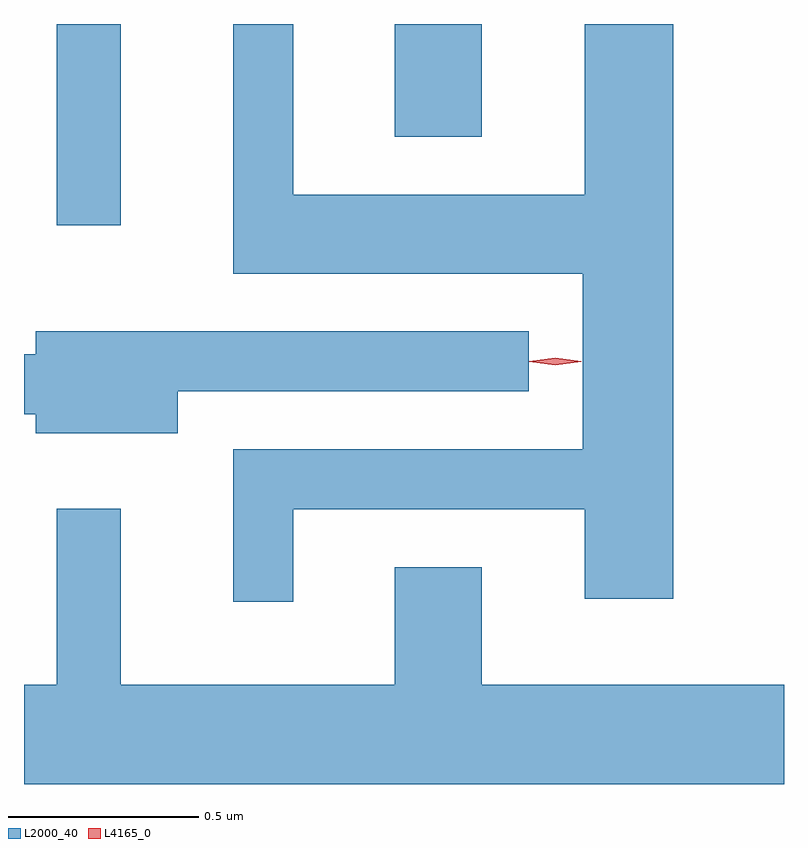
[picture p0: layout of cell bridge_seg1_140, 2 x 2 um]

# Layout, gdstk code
import gdstk
lib = gdstk.Library(unit=1e-6, precision=1e-09)
def R(c, l, rs):  # rectangles x0, y0, x1, y1
    for r in rs: c.add(gdstk.rectangle(r[:2], r[2:], *l))
def P(c, l, *ps):  # polygons
    for p in ps: c.add(gdstk.Polygon(p, *l))
L2000_40 = (2000, 40)
L4165_0 = (4165, 0)

bridge_seg1_140 = lib.new_cell('bridge_seg1_140')
R(bridge_seg1_140, L2000_40, [(1477.421,887.733,1477.589,888.263), (1478.311,887.966,1478.539,888.263)])
P(bridge_seg1_140, L2000_40, [(1478.044,886.986),(1478.811,886.986),(1478.811,886.751),(1479.044,886.751),(1479.044,888.263),(1478.811,888.263),(1478.811,887.814),(1478.044,887.814),(1478.044,888.263),(1477.886,888.263),(1477.886,887.606),(1478.806,887.606),(1478.806,887.144),(1477.886,887.144),(1477.886,886.743),(1478.044,886.743)],
  [(1477.739,887.296),(1478.663,887.296),(1478.663,887.454),(1477.366,887.454),(1477.366,887.394),(1477.335,887.394),(1477.335,887.236),(1477.366,887.236),(1477.366,887.186),(1477.739,887.186)],
  [(1479.335,886.524),(1478.539,886.524),(1478.539,886.834),(1478.311,886.834),(1478.311,886.524),(1477.589,886.524),(1477.589,886.988),(1477.421,886.988),(1477.421,886.524),(1477.335,886.524),(1477.335,886.263),(1479.335,886.263)])
P(bridge_seg1_140, L4165_0, [(1478.733,887.365),(1478.664,887.374),(1478.664,887.375),(1478.664,887.375),(1478.733,887.385),(1478.802,887.375),(1478.802,887.375),(1478.802,887.374)],
  [(1478.733,887.365),(1478.667,887.374),(1478.667,887.375),(1478.667,887.375),(1478.733,887.385),(1478.799,887.375),(1478.8,887.375),(1478.799,887.374)])

lib.write_gds('bridge_seg1_140.gds')
